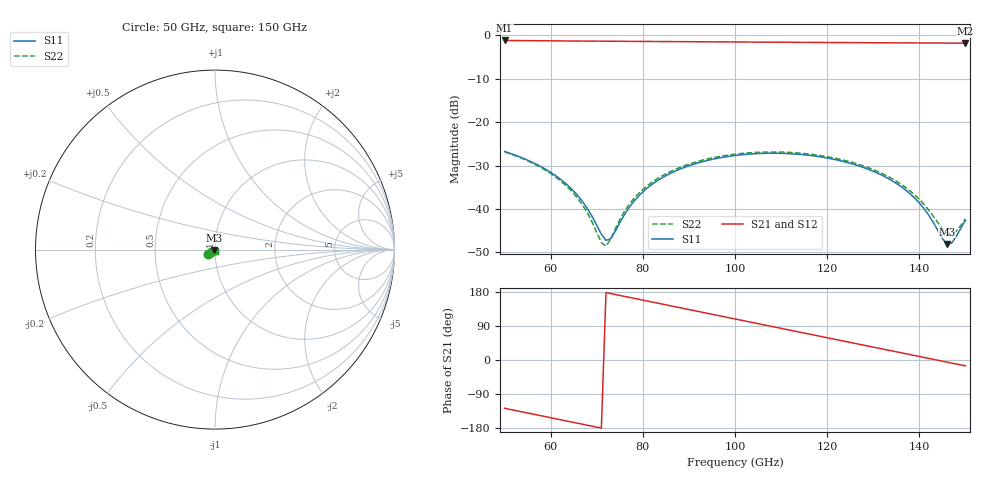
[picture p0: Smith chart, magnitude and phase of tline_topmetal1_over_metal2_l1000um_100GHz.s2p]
#  GHZ S DB R 50
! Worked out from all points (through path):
!   101 points, 50 GHz to 150 GHz, reference 50 ohm
!   highest |S21| = -1.16 dB at 50 GHz (marker M1); lowest = -1.8 dB at 150 GHz (marker M2)
!   group delay of S21, straight-line fit = 6.89 ps
!   lowest |S11| = -48.1 dB at 146 GHz (marker M3), VSWR 1.01, Z = 49.6 - j0.148 ohm
!   |S11| at or under -10 dB: start of sweep to end of sweep
!   |S22| runs from -48.6 to -26.9 dB; largest |S21 - S12| = 9.9e-14
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50  -26.75 -146.8  -1.16 -127.5  -1.16 -127.5  -26.86 -147.0
60  -31.57 -172.4  -1.24 -152.3  -1.24 -152.3  -31.85 -172.8
64  -34.84 -179.6  -1.27 -162.3  -1.27 -162.3  -35.31 179.8
67  -38.41 179.1  -1.30 -169.7  -1.30 -169.7  -39.22 178.6
69  -41.74 -175.9  -1.31 -174.7  -1.31 -174.7  -43.04 -175.2
71  -45.84 -155.9  -1.32 -179.6  -1.32 -179.6  -47.76 -147.7
72  -47.23 -135.0  -1.33 177.9  -1.33 177.9  -48.58 -119.6
73  -46.90 -111.0  -1.34 175.4  -1.34 175.4  -47.03 -94.6
75  -43.16 -82.7  -1.35 170.4  -1.35 170.4  -42.44 -73.2
77  -39.70 -74.6  -1.36 165.5  -1.36 165.5  -39.00 -68.6
80  -36.07 -74.3  -1.38 158.0  -1.38 158.0  -35.51 -70.4
84  -32.93 -80.3  -1.40 148.1  -1.40 148.1  -32.48 -77.5
91  -29.69 -95.8  -1.45 130.7  -1.45 130.7  -29.34 -93.6
100  -27.68 -117.9  -1.50 108.3  -1.50 108.3  -27.38 -116.0
108  -27.16 -138.0  -1.55 88.5  -1.55 88.5  -26.87 -136.0
117  -27.76 -160.2  -1.61 66.2  -1.61 66.2  -27.46 -158.0
126  -29.78 178.6  -1.66 43.9  -1.66 43.9  -29.44 -178.8
134  -33.43 162.1  -1.70 24.1  -1.70 24.1  -32.96 165.5
140  -38.62 155.9  -1.73 9.3  -1.73 9.3  -37.79 160.7
146  -48.10 -157.8  -1.76 -5.6  -1.76 -5.6  -45.65 -161.4
147  -47.88 -135.1  -1.76 -8.1  -1.76 -8.1  -45.87 -144.1
150  -42.65 -100.1  -1.78 -15.5  -1.78 -15.5  -42.32 -108.5
